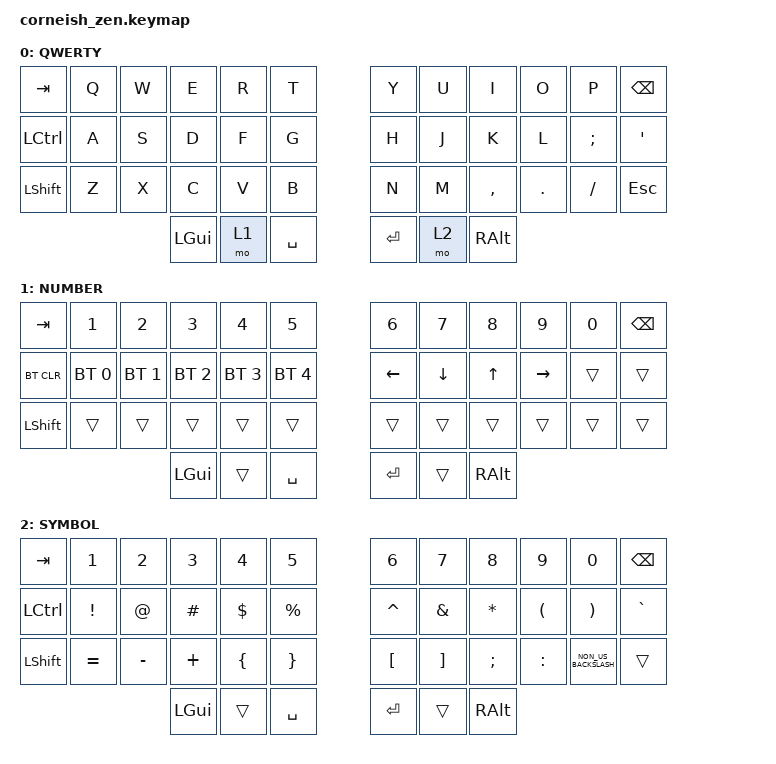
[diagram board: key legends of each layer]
#include <behaviors.dtsi>
#include <dt-bindings/zmk/bt.h>
#include <dt-bindings/zmk/keys.h>

/ {
    chosen {
        zmk,matrix_transform = &default_transform;

        //zmk,matrix_transform = &five_column_transform;
    };
};

/ {
    keymap {
        compatible = "zmk,keymap";

        default_layer {
            label = "QWERTY";

            // -----------------------------------------------------------------------------------------
            // |  TAB |  Q  |  W  |  E  |  R  |  T  |   |  Y  |  U   |  I  |  O  |  P  | BKSP |
            // | CTRL |  A  |  S  |  D  |  F  |  G  |   |  H  |  J   |  K  |  L  |  ;  |  '   |
            // | SHFT |  Z  |  X  |  C  |  V  |  B  |   |  N  |  M   |  ,  |  .  |  /  | ESC  |
            //                    | GUI | LWR | SPC |   | ENT | RSE  | ALT |

            bindings = <
&kp TAB    &kp Q  &kp W  &kp E     &kp R  &kp T        &kp Y    &kp U  &kp I      &kp O    &kp P     &kp BSPC
&kp LCTRL  &kp A  &kp S  &kp D     &kp F  &kp G        &kp H    &kp J  &kp K      &kp L    &kp SEMI  &kp SQT
&kp LSHFT  &kp Z  &kp X  &kp C     &kp V  &kp B        &kp N    &kp M  &kp COMMA  &kp DOT  &kp FSLH  &kp ESC
                         &kp LGUI  &mo 1  &kp SPACE    &kp RET  &mo 2  &kp RALT
            >;
        };

        lower_layer {
            label = "NUMBER";

            // -----------------------------------------------------------------------------------------
            // |  TAB |  1  |  2  |  3  |  4  |  5  |   |  6  |  7  |  8  |  9  |  0  | BKSP |
            // | BTCLR| BT1 | BT2 | BT3 | BT4 | BT5 |   | LFT | DWN |  UP | RGT |     |      |
            // | SHFT |     |     |     |     |     |   |     |     |     |     |     |      |
            //                    | GUI |     | SPC |   | ENT |     | ALT |

            bindings = <
&kp TAB     &kp N1        &kp N2        &kp N3        &kp N4        &kp N5          &kp N6    &kp N7    &kp N8    &kp N9     &kp N0  &kp BSPC
&bt BT_CLR  &bt BT_SEL 0  &bt BT_SEL 1  &bt BT_SEL 2  &bt BT_SEL 3  &bt BT_SEL 4    &kp LEFT  &kp DOWN  &kp UP    &kp RIGHT  &trans  &trans
&kp LSHFT   &trans        &trans        &trans        &trans        &trans          &trans    &trans    &trans    &trans     &trans  &trans
                                        &kp LGUI      &trans        &kp SPACE       &kp RET   &trans    &kp RALT
            >;
        };

        raise_layer {
            label = "SYMBOL";

            // -----------------------------------------------------------------------------------------
            // |  TAB |  !  |  @  |  #  |  $  |  %  |   |  ^  |  &  |  *  |  (  |  )  | BKSP |
            // | CTRL |     |     |     |     |     |   |  -  |  =  |  [  |  ]  |  \  |  `   |
            // | SHFT |     |     |     |     |     |   |  _  |  +  |  {  |  }  | "|" |  ~   |
            //                    | GUI |     | SPC |   | ENT |     | ALT |

            bindings = <
&kp TAB    &kp NUMBER_1     &kp NUMBER_2  &kp NUMBER_3  &kp NUMBER_4    &kp NUMBER_5       &kp NUMBER_6      &kp N7             &kp NUMBER_8   &kp NUMBER_9          &kp NUMBER_0           &kp BSPC
&kp LCTRL  &kp EXCLAMATION  &kp AT_SIGN   &kp HASH      &kp DOLLAR      &kp PERCENT        &kp CARET         &kp AMPERSAND      &kp ASTERISK   &kp LEFT_PARENTHESIS  &kp RIGHT_PARENTHESIS  &kp GRAVE
&kp LSHFT  &kp EQUAL        &kp MINUS     &kp PLUS      &kp LEFT_BRACE  &kp RIGHT_BRACE    &kp LEFT_BRACKET  &kp RIGHT_BRACKET  &kp SEMICOLON  &kp COLON             &kp NON_US_BACKSLASH   &trans
                                          &kp LGUI      &trans          &kp SPACE          &kp RET           &trans             &kp RALT
            >;
        };
    };
};
